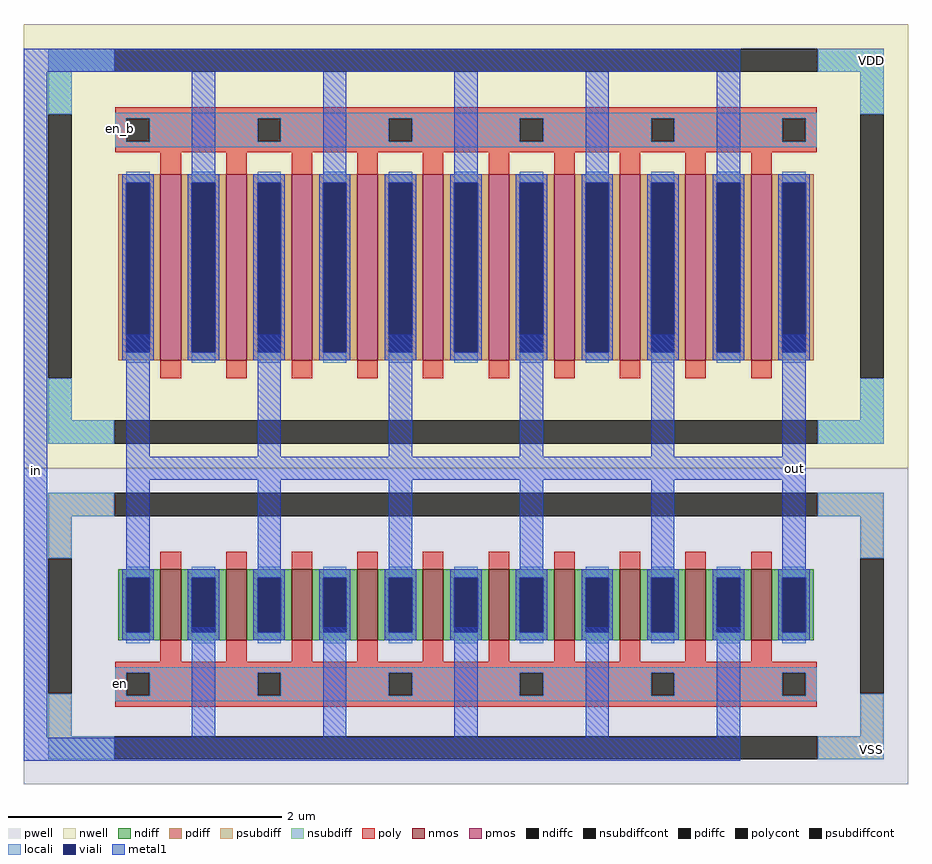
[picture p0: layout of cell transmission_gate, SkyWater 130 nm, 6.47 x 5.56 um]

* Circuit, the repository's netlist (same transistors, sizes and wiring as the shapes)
* transmission_gate
.subckt transmission_gate in out en en_b VDD VSS N=1 W_N=5.3 L_N=0.15 W_P=13.7 L_P=0.15
XM1 out en in VSS sky130_fd_pr__nfet_01v8 L=0.15 W=5.3 nf=10 ad='int((nf+1)/2) * W/nf * 0.29' as='int((nf+2)/2) * W/nf * 0.29'
+ pd='2*int((nf+1)/2) * (W/nf + 0.29)' ps='2*int((nf+2)/2) * (W/nf + 0.29)' nrd='0.29 / W' nrs='0.29 / W'
+ sa=0 sb=0 sd=0 mult='N' m='N' 
XM2 out en_b in VDD sky130_fd_pr__pfet_01v8 L=0.15 W=13.7 nf=10 ad='int((nf+1)/2) * W/nf * 0.29' as='int((nf+2)/2) * W/nf * 0.29'
+ pd='2*int((nf+1)/2) * (W/nf + 0.29)' ps='2*int((nf+2)/2) * (W/nf + 0.29)' nrd='0.29 / W' nrs='0.29 / W'
+ sa=0 sb=0 sd=0 mult='N' m='N' 
.ends

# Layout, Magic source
magic
tech sky130A
magscale 1 2
<< locali >>
rect 1171 993 1205 1027
rect 81 883 97 933
rect 81 72 97 122
rect 1171 -13 1205 19
<< metal1 >>
rect -53 993 995 1027
rect -53 19 -19 993
rect 193 832 227 993
rect 385 832 419 993
rect 577 832 611 993
rect 769 832 803 993
rect 961 832 995 993
rect 97 430 131 608
rect 289 430 323 608
rect 481 430 515 608
rect 673 430 707 608
rect 865 430 899 608
rect 1057 430 1091 608
rect 97 396 1091 430
rect 97 253 131 396
rect 289 253 323 396
rect 481 253 515 396
rect 673 253 707 396
rect 865 253 899 396
rect 1057 253 1091 396
rect 193 19 227 180
rect 385 19 419 180
rect 577 19 611 180
rect 769 19 803 180
rect 961 19 995 180
rect -53 -15 995 19
use nmos_tgate  nmos_tgate_0
transform 1 0 593 0 1 213
box -646 -262 648 200
use pmos_tgate  pmos_tgate_0
transform -1 0 595 0 -1 707
box -646 -356 648 294
<< labels >>
flabel locali 1188 2 1188 2 1 FreeSans 400 0 0 0 VSS
port 6 n ground bidirectional
flabel locali 1188 1010 1188 1010 1 FreeSans 400 0 0 0 VDD
port 5 n power bidirectional
flabel metal1 -34 410 -34 410 1 FreeSans 400 0 0 0 in
port 1 n
flabel metal1 1074 412 1074 412 1 FreeSans 400 0 0 0 out
port 2 n
flabel locali 88 98 88 98 1 FreeSans 400 0 0 0 en
port 3 n
flabel locali 88 910 88 910 1 FreeSans 400 0 0 0 en_b
port 4 n
<< end >>

# cell nmos_tgate: kit device sky130_fd_pr__nfet_01v8, w 0.53 l 0.150 m 1 nf 10 diffcov 100 polycov 100 guard 1 glc 1 grc 1 gtc 1 gbc 1 tbcov 100 rlcov 100 topc 1 botc 1 poverlap 0 doverlap 1 lmin 0.15 wmin 0.42 compatible {sky130_fd_pr__nfet_01v8 sky130_fd_pr__nfet_01v8_lvt sky130_fd_bs_flash__special_sonosfet_star sky130_fd_pr__nfet_g5v0d10v5 sky130_fd_pr__nfet_05v0_nvt sky130_fd_pr__nfet_03v3_nvt} full_metal 1 viasrc 100 viadrn 100 viagate 100 viagb 0 viagr 0 viagl 0 viagt 0

# cell pmos_tgate: kit device sky130_fd_pr__pfet_01v8, w 1.37 l 0.15 m 1 nf 10 diffcov 100 polycov 100 guard 1 glc 1 grc 1 gtc 1 gbc 1 tbcov 100 rlcov 100 topc 1 botc 1 poverlap 0 doverlap 1 lmin 0.15 wmin 0.42 compatible {sky130_fd_pr__pfet_01v8 sky130_fd_pr__pfet_01v8_lvt sky130_fd_pr__pfet_01v8_hvt sky130_fd_pr__pfet_g5v0d10v5} full_metal 1 viasrc 100 viadrn 100 viagate 100 viagb 0 viagr 0 viagl 0 viagt 0
